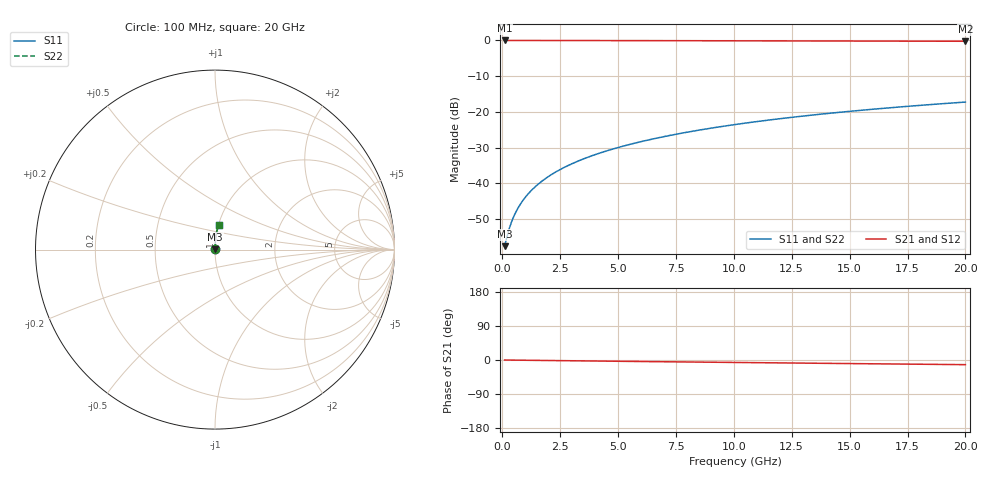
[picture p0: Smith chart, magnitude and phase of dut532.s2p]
! Touchstone file exported from HFSS 2024.1.0
!  File:  C:/UserFiles/LocalFiles/RDL_TSV_Batchsim/temp_RDL_bottom_532_1779688584.aedt
!  Generated:  01:58:32 PM May 25, 2026
!  Design:  RDL_bottom
!  Project:  temp_RDL_bottom_532_1779688584
!  Setup:  Setup1
!  Solution:  Sweep
! Variables:
!  dtsv = 10.80580581um
!  hbump = 3um
!  htsv = 62.21um
!  ldown = 153um
!  lrdl = 100um
!  p = 40
!  p1 = 40.53um
!  rhole = 1um
!  t = 450um
!  tdown = 3.16um
!  trdl = 3.915915916um
!  wdown = 18.92um
!  wrdl = 20um
# GHz S MA R 50.000000
! Terminal data exported
! Port[1] = RDL1_T1
! Port[2] = RDL1_T2
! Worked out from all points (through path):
!   200 points, 100 MHz to 20 GHz, reference 50 ohm
!   highest |S21| = -0.01 dB at 100 MHz (marker M1); lowest = -0.2 dB at 20 GHz (marker M2)
!   group delay of S21, straight-line fit = 1.69 ps
!   lowest |S11| = -57.5 dB at 100 MHz (marker M3), VSWR 1.00, Z = 50.1 + j0.0682 ohm
!   |S11| at or under -10 dB: start of sweep to end of sweep
!   |S22| runs from -57.5 to -17.2 dB; largest |S21 - S12| = 2.7e-15
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0.1  0.00133 30.8  0.9989 -0.1  0.9989 -0.1  0.00133 30.8
! Gamma 0 0 0 0
! Port Impedance 50 0 50 0
0.2  0.001788 48.9  0.9988 -0.1  0.9988 -0.1  0.001788 48.9
0.3  0.002335 58.6  0.9988 -0.2  0.9988 -0.2  0.002335 58.6
0.4  0.002908 64.4  0.9987 -0.3  0.9987 -0.3  0.002908 64.4
0.5  0.003489 68.4  0.9987 -0.4  0.9987 -0.4  0.003489 68.4
0.6  0.004074 71.2  0.9986 -0.4  0.9986 -0.4  0.004074 71.2
0.8  0.005255 75.2  0.9985 -0.6  0.9985 -0.6  0.005255 75.2
1.1  0.00705 78.9  0.9984 -0.8  0.9984 -0.8  0.00705 78.9
1.3  0.008261 80.6  0.9983 -0.9  0.9983 -0.9  0.008261 80.6
1.6  0.01009 82.3  0.9982 -1.1  0.9982 -1.1  0.01009 82.3
2.1  0.01318 84.3  0.9979 -1.4  0.9979 -1.4  0.01318 84.3
2.7  0.01694 85.7  0.9974 -1.8  0.9974 -1.8  0.01694 85.7
3.5  0.02203 86.9  0.9967 -2.4  0.9967 -2.4  0.02203 86.9
4.2  0.02656 87.5  0.9959 -2.8  0.9959 -2.8  0.02656 87.5
5  0.03182 87.9  0.9949 -3.4  0.9949 -3.4  0.03182 87.9
5.9  0.03785 88.1  0.9937 -3.9  0.9937 -3.9  0.03785 88.1
6.8  0.04397 88.1  0.9925 -4.5  0.9925 -4.5  0.04397 88.1
8.4  0.05506 87.8  0.9901 -5.5  0.9901 -5.5  0.05506 87.8
10.1  0.06705 87.2  0.9876 -6.5  0.9876 -6.5  0.06705 87.2
13.4  0.0906 85.5  0.9828 -8.5  0.9828 -8.5  0.0906 85.5
16.7  0.1142 83.4  0.978 -10.4  0.978 -10.4  0.1142 83.4
20  0.1375 81.3  0.9732 -12.3  0.9732 -12.3  0.1375 81.3
